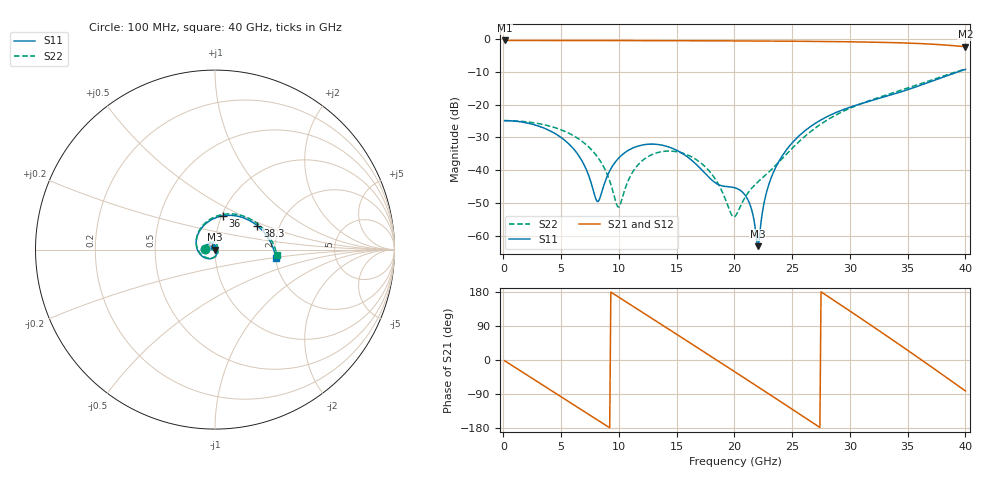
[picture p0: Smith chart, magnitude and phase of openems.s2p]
! B_ts6_L1L6: ThunderScope stack: L1→B.Cu, no stub
! stackup: ThunderScope Rev5.3 6-layer (FR408HR / FR-4, from the board file)
! ports: 1, 2
! openEMS 0.37.0, staircase, fine mesh (dfine 0.0175 mm), 1110795 cells
# Hz S RI R 50
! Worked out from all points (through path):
!   400 points, 100 MHz to 40 GHz, reference 50 ohm
!   highest |S21| = -0.51 dB at 100 MHz (marker M1); lowest = -2.4 dB at 40 GHz (marker M2)
!   group delay of S21, straight-line fit = 55.3 ps
!   lowest |S11| = -63.1 dB at 22 GHz (marker M3), VSWR 1.00, Z = 50 - j0.068 ohm
!   |S11| at or under -10 dB: start of sweep to 39.41 GHz
!   |S22| runs from -54.1 to -9.2 dB; largest |S21 - S12| = 0.0019
!   S11 on the Smith chart (normalised r, x): 100 MHz: 0.89, +0.00; 36 GHz: 1.01, +0.40; 38.3 GHz: 1.54, +0.44; 40 GHz: 2.01, -0.20
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1e8  -0.057 0.00148  0.9423 -0.032  0.9423 -0.032  -0.0569 0.00151
1.8e9  -0.0477 0.0242  0.7722 -0.5405  0.7722 -0.5405  -0.0488 0.0256
3.7e9  -0.0241 0.0349  0.2925 -0.8955  0.2925 -0.8955  -0.0255 0.0413
6.8e9  0.00153 0.0138  -0.6317 -0.6971  -0.6317 -0.6971  0.0114 0.0252
8.2e9  -0.00266 0.00205  -0.88 -0.3303  -0.88 -0.3304  0.0126 0.00892
9.9e9  -0.0148 -0.000815  -0.9165 0.2037  -0.9166 0.2037  0.00102 -0.00259
1.14e10  -0.0212 0.00764  -0.6994 0.6249  -0.6995 0.6249  -0.0107 0.00061
1.34e10  -0.0133 0.0208  -0.149 0.9245  -0.149 0.9246  -0.0113 0.0149
1.52e10  0.00237 0.0192  0.411 0.8396  0.4111 0.8397  0.00164 0.0188
1.71e10  0.00934 0.00475  0.8336 0.418  0.8338 0.4181  0.0104 0.00774
2.01e10  -0.00239 -0.00483  0.7833 -0.4982  0.7836 -0.4984  -0.00162 -0.00123
2.13e10  -0.00271 -0.00164  0.5155 -0.7697  0.5156 -0.77  -0.00284 0.00393
2.2e10  -0.000179 -0.00068  0.3154 -0.8697  0.3155 -0.87  -0.000196 0.00658
2.26e10  0.00308 -0.00147  0.129 -0.9149  0.129 -0.9152  0.00373 0.0073
2.34e10  0.00767 -0.00567  -0.1266 -0.9136  -0.1266 -0.9139  0.01 0.00474
2.67e10  -0.0111 -0.0464  -0.8774 -0.2527  -0.8781 -0.2529  -0.000554 -0.0401
2.85e10  -0.0546 -0.0465  -0.8502 0.3139  -0.8509 0.3143  -0.0469 -0.0451
3.05e10  -0.0972 -0.0024  -0.4353 0.7841  -0.4352 0.7849  -0.0957 0.000487
3.34e10  -0.082 0.11  0.4494 0.7531  0.4498 0.7531  -0.0787 0.121
3.6e10  0.0441 0.1883  0.8444 0.0654  0.8443 0.0656  0.052 0.197
3.83e10  0.2356 0.133  0.5693 -0.5662  0.5703 -0.5656  0.2411 0.1414
4e10  0.3392 -0.044  0.1115 -0.7488  0.1132 -0.7496  0.3463 -0.032
